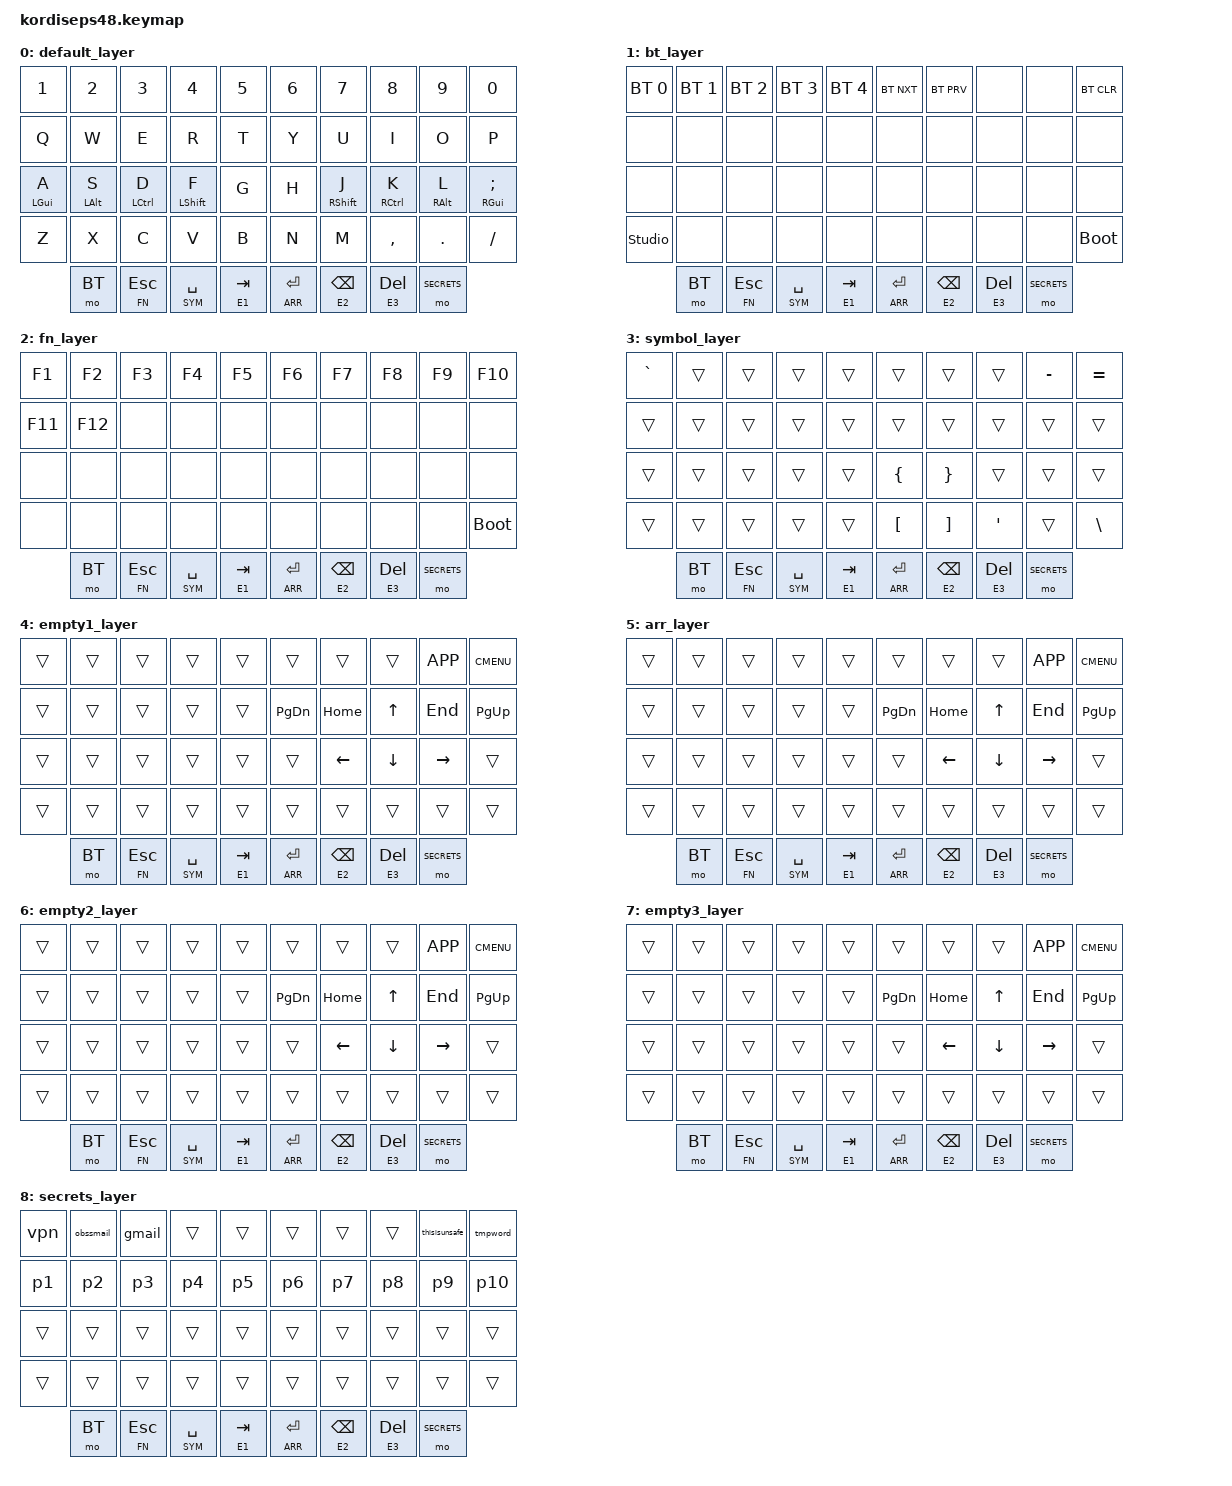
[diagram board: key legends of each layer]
#include <behaviors.dtsi>
#include <dt-bindings/zmk/keys.h>
#include <dt-bindings/zmk/bt.h>

#define DEFAULT 0
#define BT   1
#define FN   2
#define SYM  3
#define E1   4
#define ARR  5
#define E2   6
#define E3   7
#define SECRETS   8

/ {

	keymap {
		compatible = "zmk,keymap"; 

		default_layer {
			bindings = <
                &kp N1      &kp N2     &kp N3      &kp N4        &kp N5          &kp N6      &kp N7           &kp N8      &kp N9     &kp N0 
                &kp  Q      &kp  W     &kp  E      &kp  R        &kp  T          &kp  Y      &kp  U           &kp  I      &kp  O     &kp  P 
                &mt LGUI A  &mt LALT S &mt LCTRL D &mt LSHFT F   &kp  G          &kp  H      &mt RSHFT J      &mt RCTRL K &mt RALT L &mt RGUI SEMICOLON 
                &kp  Z      &kp  X     &kp  C      &kp  V        &kp  B          &kp  N      &kp  M           &kp  COMMA  &kp  DOT   &kp  SLASH  
                            &mo  BT    &lt FN ESC  &lt SYM SPACE &lt E1 TAB      &lt ARR RET &lt E2 BACKSPACE &lt E3 DEL  &mo SECRETS  
            >;
        };

    bt_layer {
			bindings = <
                &bt BT_SEL 0     &bt BT_SEL 1 &bt BT_SEL 2 &bt BT_SEL 3 &bt BT_SEL 4      &bt BT_NXT  &bt BT_PRV       &none        &none        &bt BT_CLR 
                &none            &none        &none        &none        &none             &none       &none            &none        &none        &none
                &none            &none        &none        &none        &none             &none       &none            &none        &none        &none
                &studio_unlock   &none        &none        &none        &none             &none       &none            &none        &none        &bootloader
                             &mo  BT      &lt FN ESC   &lt SYM SPACE &lt E1 TAB       &lt ARR RET &lt E2 BACKSPACE &lt E3 DEL   &mo SECRETS  
            >;
        };

    fn_layer{
			bindings = <
                &kp F1       &kp F2       &kp F3       &kp F4       &kp F5            &kp F6      &kp F7           &kp F8       &kp F9      &kp F10
                &kp F11      &kp F12      &none        &none        &none             &none       &none            &none        &none        &none
                &none        &none        &none        &none        &none             &none       &none            &none        &none        &none
                &none        &none        &none        &none        &none             &none       &none            &none        &none        &bootloader
                             &mo  BT      &lt FN ESC   &lt SYM SPACE &lt E1 TAB       &lt ARR RET &lt E2 BACKSPACE &lt E3 DEL   &mo SECRETS  
            >;
        };


    symbol_layer{
			bindings = <
                &kp GRAVE  &trans  &trans   &trans        &trans        &trans      &trans           &trans       &kp MINUS &kp EQUAL 
                &trans  &trans  &trans      &trans        &trans        &trans      &trans           &trans       &trans    &trans 
                &trans  &trans  &trans      &trans        &trans        &kp LBRC    &kp RBRC         &trans       &trans    &trans        
                &trans  &trans  &trans      &trans        &trans        &kp LBKT    &kp RBKT         &kp SQT      &trans    &kp BSLH
                        &mo  BT &lt FN ESC  &lt SYM SPACE &lt E1 TAB    &lt ARR RET &lt E2 BACKSPACE &lt E3 DEL   &mo SECRETS  
            >;
        };

    empty1_layer{
			bindings = <
                &trans  &trans  &trans      &trans        &trans        &trans      &trans           &trans       &kp K_APP &kp K_CMENU
                &trans  &trans  &trans      &trans        &trans        &kp PG_DN   &kp HOME         &kp UP       &kp END   &kp PG_UP
                &trans  &trans  &trans      &trans        &trans        &trans      &kp LEFT         &kp DOWN     &kp RIGHT &trans        
                &trans  &trans  &trans      &trans        &trans        &trans      &trans           &trans       &trans    &trans
                        &mo  BT &lt FN ESC  &lt SYM SPACE &lt E1 TAB    &lt ARR RET &lt E2 BACKSPACE &lt E3 DEL   &mo SECRETS  
            >;
        };

    arr_layer{
			bindings = <
                &trans  &trans  &trans      &trans        &trans        &trans      &trans           &trans       &kp K_APP &kp K_CMENU
                &trans  &trans  &trans      &trans        &trans        &kp PG_DN   &kp HOME         &kp UP       &kp END   &kp PG_UP
                &trans  &trans  &trans      &trans        &trans        &trans      &kp LEFT         &kp DOWN     &kp RIGHT &trans        
                &trans  &trans  &trans      &trans        &trans        &trans      &trans           &trans       &trans    &trans
                        &mo  BT &lt FN ESC  &lt SYM SPACE &lt E1 TAB    &lt ARR RET &lt E2 BACKSPACE &lt E3 DEL   &mo SECRETS  
            >;
        };

    empty2_layer{
			bindings = <
                &trans  &trans  &trans      &trans        &trans        &trans      &trans           &trans       &kp K_APP &kp K_CMENU
                &trans  &trans  &trans      &trans        &trans        &kp PG_DN   &kp HOME         &kp UP       &kp END   &kp PG_UP
                &trans  &trans  &trans      &trans        &trans        &trans      &kp LEFT         &kp DOWN     &kp RIGHT &trans        
                &trans  &trans  &trans      &trans        &trans        &trans      &trans           &trans       &trans    &trans
                        &mo  BT &lt FN ESC  &lt SYM SPACE &lt E1 TAB    &lt ARR RET &lt E2 BACKSPACE &lt E3 DEL   &mo SECRETS  
            >;
        };

    empty3_layer{
			bindings = <
                &trans  &trans  &trans      &trans        &trans        &trans      &trans           &trans       &kp K_APP &kp K_CMENU
                &trans  &trans  &trans      &trans        &trans        &kp PG_DN   &kp HOME         &kp UP       &kp END   &kp PG_UP
                &trans  &trans  &trans      &trans        &trans        &trans      &kp LEFT         &kp DOWN     &kp RIGHT &trans        
                &trans  &trans  &trans      &trans        &trans        &trans      &trans           &trans       &trans    &trans
                        &mo  BT &lt FN ESC  &lt SYM SPACE &lt E1 TAB    &lt ARR RET &lt E2 BACKSPACE &lt E3 DEL   &mo SECRETS  
            >;
        };

    secrets_layer{
			bindings = <
                &vpn    &obssmail  &gmail   &trans        &trans        &trans      &trans           &trans       &thisisunsafe    &tmpword
                &p1     &p2     &p3         &p4           &p5           &p6         &p7              &p8          &p9       &p10
                &trans  &trans  &trans      &trans        &trans        &trans      &trans           &trans       &trans    &trans
                &trans  &trans  &trans      &trans        &trans        &trans      &trans           &trans       &trans    &trans
                        &mo  BT &lt FN ESC  &lt SYM SPACE &lt E1 TAB    &lt ARR RET &lt E2 BACKSPACE &lt E3 DEL   &mo SECRETS  
            >;
        };
    };

     macros {
      myname: myname {
          compatible = "zmk,behavior-macro";
          wait-ms = <10>;
          #binding-cells = <0>;
          bindings
          // said.yeter
              = <&macro_tap &kp S &kp A &kp I &kp D &kp DOT &kp Y &kp E &kp T &kp E &kp R>;
      };

      obssmail: obssmail {
          compatible = "zmk,behavior-macro";
          wait-ms = <10>;
          #binding-cells = <0>;
          bindings
          // said.yeter@obss.tech
              = <&macro_tap &kp S &kp A &kp I &kp D &kp DOT &kp Y &kp E &kp T &kp E &kp R &kp AT &kp O &kp B &kp S &kp S &kp DOT &kp T &kp E &kp C &kp H >;
      };

      gmail: gmail {
          compatible = "zmk,behavior-macro";
          wait-ms = <10>;
          #binding-cells = <0>;
          bindings
          // kordiseps@gmail.com
              = <&macro_tap &kp K &kp O &kp R &kp D &kp I &kp S &kp E &kp P &kp S &kp AT &kp G &kp M &kp A &kp I &kp L &kp DOT &kp C &kp O &kp M >;
      };

      tmpword: tmpword {
          compatible = "zmk,behavior-macro";
          wait-ms = <10>;
          #binding-cells = <0>;
          bindings
              = <&macro_tap &kp T &kp E &kp M &kp P &kp N1 &kp N0 &kp N2 &kp N4 >;
      };

      thisisunsafe: thisisunsafe {
          compatible = "zmk,behavior-macro";
          wait-ms = <10>;
          #binding-cells = <0>;
          bindings
          // thisisunsafe
              = <&macro_tap &kp T &kp H &kp I &kp S &kp I &kp S &kp U &kp N &kp S &kp A &kp F &kp E >;
      };

      vpn: vpn {
          compatible = "zmk,behavior-macro";
          wait-ms = <10>;
          #binding-cells = <0>; 
          bindings 
                = <&macro_tap &kp D &kp T &kp E>
                , <&macro_press &kp LSHFT>
                , <&macro_tap &kp Q &kp W>
                , <&macro_release &kp LSHFT>
                , <&macro_tap &kp N5 &kp MINUS &kp EXCL &kp E>
                , <&macro_press &kp LSHFT>
                , <&macro_tap &kp Y &kp T>
                , <&macro_release &kp LSHFT>
                , <&macro_tap &kp P &kp L>
                ;
      };

      p1: p1 {
          compatible = "zmk,behavior-macro";
          wait-ms = <10>;
          #binding-cells = <0>;
          // B5Scy6IR
          bindings 
                = <&macro_press &kp LSHFT>
                , <&macro_tap &kp B>
                , <&macro_release &kp LSHFT>
                , <&macro_tap &kp N5>
                , <&macro_press &kp LSHFT>
                , <&macro_tap &kp S>
                , <&macro_release &kp LSHFT>
                , <&macro_tap &kp C &kp Y &kp N6>
                , <&macro_press &kp LSHFT>
                , <&macro_tap &kp I &kp R>
                , <&macro_release &kp LSHFT>
                ;
      };

      p2: p2 {
          compatible = "zmk,behavior-macro";
          wait-ms = <10>;
          #binding-cells = <0>;
          // o3Hp0NBz
          bindings 
                = <&macro_tap &kp O &kp N3>
                , <&macro_press &kp LSHFT>
                , <&macro_tap &kp H>
                , <&macro_release &kp LSHFT>
                , <&macro_tap &kp P &kp N0>
                , <&macro_press &kp LSHFT>
                , <&macro_tap &kp N &kp B>
                , <&macro_release &kp LSHFT>
                , <&macro_tap &kp Z>
                ;
      };

      p3: p3 {
          compatible = "zmk,behavior-macro";
          wait-ms = <10>;
          #binding-cells = <0>;
          // IUG9bpe0
          bindings 
                = <&macro_press &kp LSHFT>
                , <&macro_tap &kp I &kp U &kp G>
                , <&macro_release &kp LSHFT>
                , <&macro_tap &kp N9 &kp B &kp P &kp E &kp N0>
                ;
      };

      p4: p4 {
          compatible = "zmk,behavior-macro";
          wait-ms = <10>;
          #binding-cells = <0>;
          // 92OIAeiq
          bindings 
                = <&macro_tap &kp N9 &kp N2>
                , <&macro_press &kp LSHFT>
                , <&macro_tap &kp O &kp I &kp A>
                , <&macro_release &kp LSHFT>
                , <&macro_tap &kp E &kp I &kp Q>
                ;
      };

      p5: p5 {
          compatible = "zmk,behavior-macro";
          wait-ms = <10>;
          #binding-cells = <0>;
          // xaKmL6HQ
          bindings 
                = <&macro_tap &kp X &kp A>
                , <&macro_press &kp LSHFT>
                , <&macro_tap &kp K>
                , <&macro_release &kp LSHFT>
                , <&macro_tap &kp M>
                , <&macro_press &kp LSHFT>
                , <&macro_tap &kp L>
                , <&macro_release &kp LSHFT>
                , <&macro_tap &kp N6>
                , <&macro_press &kp LSHFT>
                , <&macro_tap &kp H &kp Q>
                , <&macro_release &kp LSHFT>
                ;
      };

      p6: p6 {
          compatible = "zmk,behavior-macro";
          wait-ms = <10>;
          #binding-cells = <0>;
          // nbDP4FVC
          bindings 
                = <&macro_tap &kp N &kp B>
                , <&macro_press &kp LSHFT>
                , <&macro_tap &kp D &kp P>
                , <&macro_release &kp LSHFT>
                , <&macro_tap &kp N4>
                , <&macro_press &kp LSHFT>
                , <&macro_tap &kp F &kp V &kp C>
                , <&macro_release &kp LSHFT>
                ;
      };

      p7: p7 {
          compatible = "zmk,behavior-macro";
          wait-ms = <10>;
          #binding-cells = <0>;
          // 2CzgTcb3
          bindings 
                = <&macro_tap &kp N2>
                , <&macro_press &kp LSHFT>
                , <&macro_tap &kp C>
                , <&macro_release &kp LSHFT>
                , <&macro_tap &kp Z &kp G>
                , <&macro_press &kp LSHFT>
                , <&macro_tap &kp T>
                , <&macro_release &kp LSHFT>
                , <&macro_tap &kp C &kp B &kp N3>
                ;
      };

      p8: p8 {
          compatible = "zmk,behavior-macro";
          wait-ms = <10>;
          #binding-cells = <0>;
          // tKXAM6m3
          bindings 
                = <&macro_tap &kp T>
                , <&macro_press &kp LSHFT>
                , <&macro_tap &kp K &kp X &kp A &kp M>
                , <&macro_release &kp LSHFT>
                , <&macro_tap &kp N6 &kp M &kp N3>
                ;
      };

      p9: p9 {
          compatible = "zmk,behavior-macro";
          wait-ms = <10>;
          #binding-cells = <0>;
          // jpmLw8Zq
          bindings 
                = <&macro_tap &kp J &kp P &kp M>
                , <&macro_press &kp LSHFT>
                , <&macro_tap &kp L>
                , <&macro_release &kp LSHFT>
                , <&macro_tap &kp W &kp N8>
                , <&macro_press &kp LSHFT>
                , <&macro_tap &kp Z>
                , <&macro_release &kp LSHFT>
                , <&macro_tap &kp Q>
                ;
      };

      p10: p10 {
          compatible = "zmk,behavior-macro";
          wait-ms = <10>;
          #binding-cells = <0>;
          // 8p4Lqc5u 
          bindings 
                = <&macro_tap &kp N8  &kp P &kp N4>
                , <&macro_press &kp LSHFT>
                , <&macro_tap &kp L>
                , <&macro_release &kp LSHFT>
                , <&macro_tap &kp Q &kp C &kp N5 &kp U>
                ;
      };
  };
};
